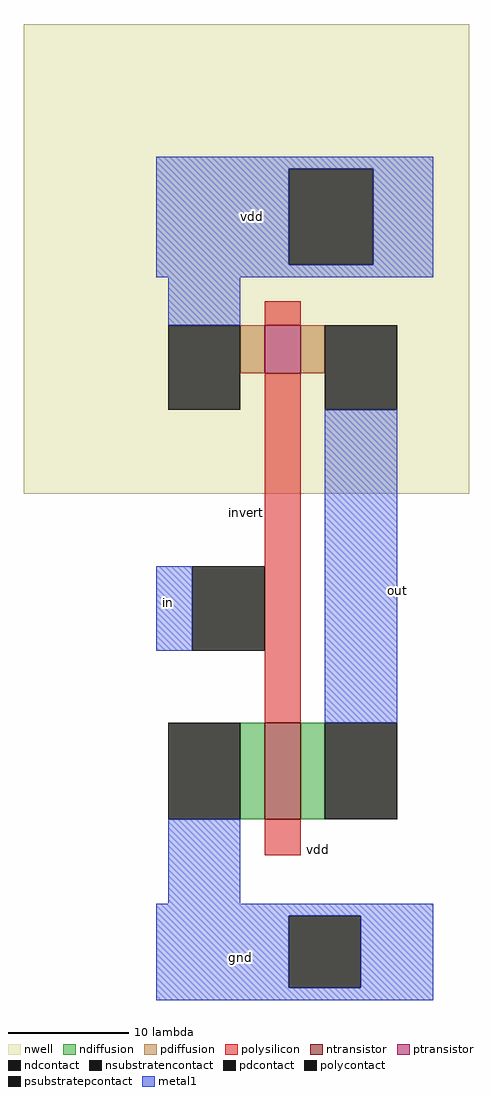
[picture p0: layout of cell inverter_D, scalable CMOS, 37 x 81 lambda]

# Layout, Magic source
magic
tech scmos
<< nwell >>
rect -12 -12 25 27
<< ntransistor >>
rect 8 -39 11 -31
<< ptransistor >>
rect 8 -2 11 2
<< ndiffusion >>
rect 6 -39 8 -31
rect 11 -39 13 -31
<< pdiffusion >>
rect 6 -2 8 2
rect 11 -2 13 2
<< ndcontact >>
rect 0 -39 6 -31
rect 13 -39 19 -31
<< pdcontact >>
rect 0 -5 6 2
rect 13 -5 19 2
<< psubstratepcontact >>
rect 10 -53 16 -47
<< nsubstratencontact >>
rect 10 7 17 15
<< polysilicon >>
rect 8 2 11 4
rect 8 -31 11 -2
rect 8 -42 11 -39
<< polycontact >>
rect 2 -25 8 -18
<< metal1 >>
rect -1 15 22 16
rect -1 7 10 15
rect 17 7 22 15
rect -1 6 22 7
rect 0 2 6 6
rect -1 -25 2 -18
rect 13 -31 19 -5
rect 0 -46 6 -39
rect -1 -47 22 -46
rect -1 -53 10 -47
rect 16 -53 22 -47
rect -1 -54 22 -53
<< labels >>
rlabel space 18 -21 20 -19 1 out
rlabel metal1 6 -44 19 -39 0 vdd
rlabel metal1 6 10 8 12 0 vdd
port 1 nsew
rlabel metal1 17 -21 19 -19 3 out
port 2 e
rlabel metal1 -1 -22 1 -20 7 in
port 3 w
rlabel metal1 5 -51 7 -50 0 gnd
port 4 nsew
rlabel space -12 -54 25 27 1 invert
<< end >>
